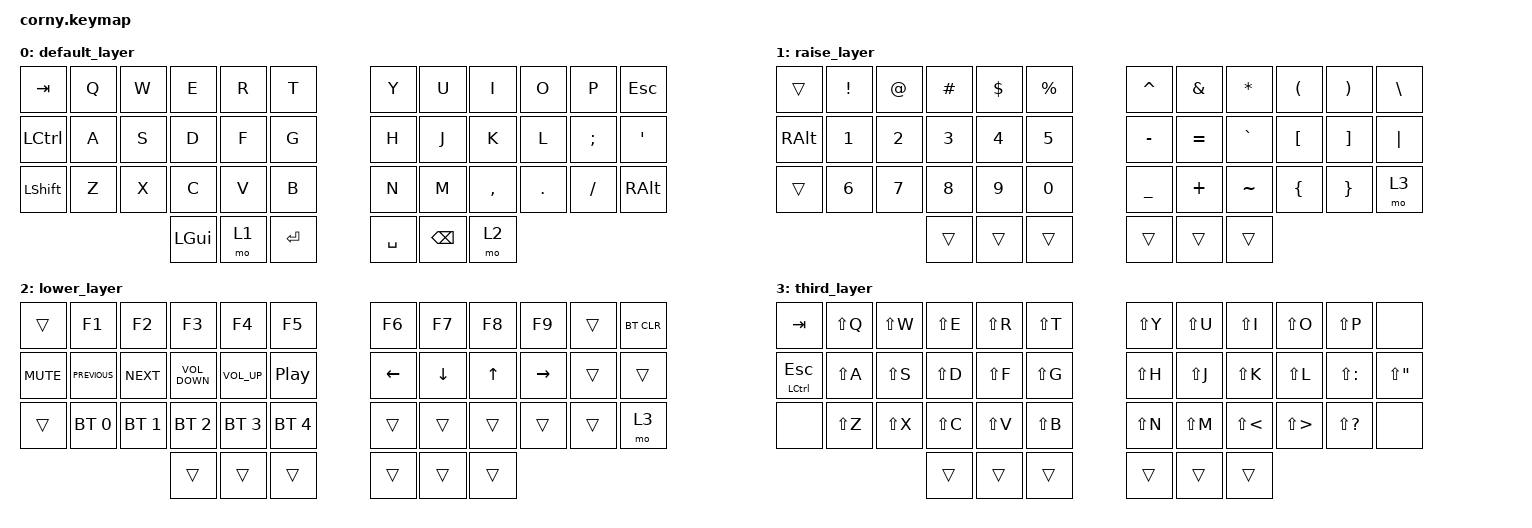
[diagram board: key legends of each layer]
/*
 * Copyright (c) 2020 The ZMK Contributors
 *
 * SPDX-License-Identifier: MIT
 */

#include <behaviors.dtsi>
#include <dt-bindings/zmk/bt.h>
#include <dt-bindings/zmk/keys.h>

/ {
  chosen {
    zmk,matrix_transform = &default_transform;
  };
};

/ {
    combos {
        compatible = "zmk,combos";

        escape {
            bindings = <&kp ESCAPE>;
            key-positions = <12 27>;
        };

        rightshift {
            bindings = <&kp RIGHT_SHIFT>;
            key-positions = <41 35>;
        };
    };

    keymap {
        compatible = "zmk,keymap";

        default_layer {
            // -----------------------------------------------------------------------------------------
            // |  TAB |  Q  |  W  |  E  |  R  |  T  |   |  Y  |  U   |  I  |  O  |  P  | BKSP |
            // | CTRL |  A  |  S  |  D  |  F  |  G  |   |  H  |  J   |  K  |  L  |  ;  |  '   |
            // | SHFT |  Z  |  X  |  C  |  V  |  B  |   |  N  |  M   |  ,  |  .  |  /  | ESC  |
            //                    | GUI | LWR | SPC |   | ENT | RSE  | ALT |

            bindings = <
&kp TAB           &kp Q  &kp W  &kp E     &kp R  &kp T        &kp Y      &kp U          &kp I      &kp O    &kp P     &kp ESCAPE
&kp LEFT_CONTROL  &kp A  &kp S  &kp D     &kp F  &kp G        &kp H      &kp J          &kp K      &kp L    &kp SEMI  &kp SQT
&kp LEFT_SHIFT    &kp Z  &kp X  &kp C     &kp V  &kp B        &kp N      &kp M          &kp COMMA  &kp DOT  &kp FSLH  &kp RIGHT_ALT
                                &kp LGUI  &mo 1  &kp ENTER    &kp SPACE  &kp BACKSPACE  &mo 2
            >;
        };

        raise_layer {
            // -----------------------------------------------------------------------------------------
            // |  TAB |  !  |  @  |  #  |  $  |  %  |   |  ^  |  &  |  *  |  (  |  )  | BKSP |
            // | CTRL |     |     |     |     |     |   |  -  |  =  |  [  |  ]  |  \  |  `   |
            // | SHFT |     |     |     |     |     |   |  _  |  +  |  {  |  }  | "|" |  ~   |
            //                    | GUI |     | SPC |   | ENT |     | ALT |

            bindings = <
&trans         &kp EXCL      &kp AT        &kp HASH      &kp DLLR      &kp PRCNT       &kp CARET  &kp AMPS   &kp ASTRK  &kp LPAR          &kp RPAR           &kp BACKSLASH
&kp RIGHT_ALT  &kp NUMBER_1  &kp NUMBER_2  &kp NUMBER_3  &kp NUMBER_4  &kp NUMBER_5    &kp MINUS  &kp EQUAL  &kp GRAVE  &kp LEFT_BRACKET  &kp RIGHT_BRACKET  &kp PIPE
&trans         &kp NUMBER_6  &kp NUMBER_7  &kp NUMBER_8  &kp N9        &kp NUMBER_0    &kp UNDER  &kp PLUS   &kp TILDE  &kp LEFT_BRACE    &kp RIGHT_BRACE    &mo 3
                                           &trans        &trans        &trans          &trans     &trans     &trans
            >;
        };

        lower_layer {
            // -----------------------------------------------------------------------------------------
            // |  TAB |  1  |  2  |  3  |  4  |  5  |   |  6  |  7  |  8  |  9  |  0  | BKSP |
            // | BTCLR| BT1 | BT2 | BT3 | BT4 | BT5 |   | LFT | DWN |  UP | RGT |     |      |
            // | SHFT |     |     |     |     |     |   |     |     |     |     |     |      |
            //                    | GUI |     | SPC |   | ENT |     | ALT |

            bindings = <
&trans      &kp F1          &kp F2        &kp F3             &kp F4           &kp F5              &kp F6    &kp F7    &kp F8  &kp F9     &trans  &bt BT_CLR
&kp C_MUTE  &kp C_PREVIOUS  &kp C_NEXT    &kp C_VOLUME_DOWN  &kp C_VOLUME_UP  &kp C_PLAY_PAUSE    &kp LEFT  &kp DOWN  &kp UP  &kp RIGHT  &trans  &trans
&trans      &bt BT_SEL 0    &bt BT_SEL 1  &bt BT_SEL 2       &bt BT_SEL 3     &bt BT_SEL 4        &trans    &trans    &trans  &trans     &trans  &mo 3
                                          &trans             &trans           &trans              &trans    &trans    &trans
            >;
        };

        third_layer {
            bindings = <
&kp TAB                  &kp LS(Q)  &kp LS(W)  &kp LS(E)  &kp LS(R)  &kp LS(T)    &kp LS(Y)  &kp LS(U)  &kp LS(I)   &kp LS(O)   &kp LS(P)      &none
&mt LEFT_CONTROL ESCAPE  &kp LS(A)  &kp LS(S)  &kp LS(D)  &kp LS(F)  &kp LS(G)    &kp LS(H)  &kp LS(J)  &kp LS(K)   &kp LS(L)   &kp LS(COLON)  &kp LS(DQT)
&none                    &kp LS(Z)  &kp LS(X)  &kp LS(C)  &kp LS(V)  &kp LS(B)    &kp LS(N)  &kp LS(M)  &kp LS(LT)  &kp LS(GT)  &kp LS(QMARK)  &none
                                               &trans     &trans     &trans       &trans     &trans     &trans
            >;
        };
    };
};

// &nice_view_spi { cs-gpios = <&pro_micro 0 GPIO_ACTIVE_HIGH>; };
